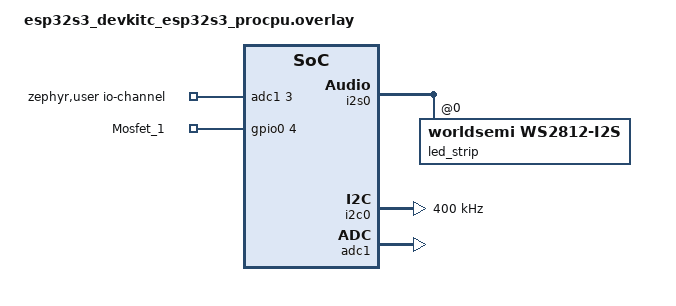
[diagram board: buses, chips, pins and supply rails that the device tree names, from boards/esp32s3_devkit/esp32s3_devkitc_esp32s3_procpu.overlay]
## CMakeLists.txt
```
cmake_minimum_required(VERSION 3.20.0)
set (CMAKE_CXX_STANDARD 20)

find_package(Zephyr REQUIRED HINTS $ENV{ZEPHYR_BASE})

project(esp-zephyr)

# add_subdirectory(src)

set(APP_SOURCES
    src/main.cpp
    src/wifi_scanner.cpp
    src/display.cpp
    src/soil_sensor.cpp
    src/led_status.cpp
)

target_sources(app PRIVATE ${APP_SOURCES})
```

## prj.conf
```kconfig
CONFIG_THREAD_NAME=y
CONFIG_DEBUG_THREAD_INFO=n

CONFIG_NO_OPTIMIZATIONS=n
CONFIG_DEBUG_OPTIMIZATIONS=y

CONFIG_STD_CPP20=y
CONFIG_NEWLIB_LIBC=y

# Console
CONFIG_SERIAL=y
CONFIG_CONSOLE=y
CONFIG_UART_CONSOLE=y
CONFIG_UART_INTERRUPT_DRIVEN=y
CONFIG_PRINTK=y

# Networking
CONFIG_NETWORKING=y
CONFIG_NET_L2_ETHERNET=y
CONFIG_NET_L2_WIFI_MGMT=y
CONFIG_NET_MGMT=y
CONFIG_NET_MGMT_EVENT=y
CONFIG_NET_MGMT_EVENT_INFO=y

# Wi-Fi
CONFIG_WIFI=y
CONFIG_WIFI_ESP32=y

# Memory and stacks
CONFIG_HEAP_MEM_POOL_SIZE=98304
CONFIG_MAIN_STACK_SIZE=4096
CONFIG_SYSTEM_WORKQUEUE_STACK_SIZE=4096

CONFIG_NET_TX_STACK_SIZE=2048
CONFIG_NET_RX_STACK_SIZE=4096

CONFIG_NET_PKT_RX_COUNT=16
CONFIG_NET_PKT_TX_COUNT=16
CONFIG_NET_BUF_RX_COUNT=32
CONFIG_NET_BUF_TX_COUNT=32

# Logging
CONFIG_LOG=y
CONFIG_LOG_BACKEND_UART=y
CONFIG_LOG_MODE_DEFERRED=y
CONFIG_LOG_BACKEND_SHOW_LEVEL=y
CONFIG_LOG_BACKEND_SHOW_TIMESTAMP=y

#Display
CONFIG_I2C=y
# CONFIG_DISPLAY=y
# CONFIG_SSD1306=y
# CONFIG_SSD1306_DEFAULT=y
# CONFIG_SSD1306_DEFAULT_CONTRAST=128

CONFIG_STATIC_INIT_GNU=y

#Downloader
CONFIG_BOOTLOADER_MCUBOOT=y
CONFIG_MCUBOOT_SIGNATURE_KEY_FILE="${APP_DIR}/keys/firmware-signing-key.pem"

#AnDC
CONFIG_ADC=y

#Led
CONFIG_LED_STRIP=y
CONFIG_I2S=y
CONFIG_WS2812_STRIP_I2S=y
```

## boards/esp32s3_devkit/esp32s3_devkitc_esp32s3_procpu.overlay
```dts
// / {
//     chosen {
//         zephyr,display = &ssd1306;
//     };
// };

// & i2c0 {
//     status = "okay";

//     ssd1306: ssd1306@3c {
//         compatible = "solomon,ssd1306fb";
//         reg = <0x3c>;

//         width = <128>;
//         height = <32>;

//         segment-offset = <0>;
//         page-offset = <0>;
//         display-offset = <0>;
//         multiplex-ratio = <31>;

//         segment-remap;
//         com-invdir;
//         prechargep = <0x22>;
//     };
// };
#include <zephyr/dt-bindings/led/led.h>

/ {
    zephyr,user {
        io-channels = <&adc1 3>;
    };
    aliases{
        led-strip = &led_strip;
        mosfet1 = &mosfet1;
    };

    gpio_keys {
        compatible = "gpio-keys";

        mosfet1: mosfet_1{
            label = "Mosfet_1";
            gpios = <&gpio0 4 GPIO_ACTIVE_HIGH>;
        };
    };
};

&i2s0_default {
    group1 {
        pinmux = <I2S0_O_SD_GPIO48>;
    };
};

&i2s0 {
    status = "okay";

    dmas = <&dma 3>;
    dma-names = "tx";

    led_strip: ws2812@0 {
        compatible = "worldsemi,ws2812-i2s";
        reg = <0>;
        chain-length = <1>;

        color-mapping = <
            LED_COLOR_ID_GREEN
            LED_COLOR_ID_RED
            LED_COLOR_ID_BLUE
        >;

        reset-delay = <500>;
    };
};

&i2c0 {
    status = "okay";
    clock-frequency = <400000>;
};

&adc1{
    status = "okay";
};

&dma {
    status = "okay";
};
```

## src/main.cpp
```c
#include "wifi_scanner.h"
#include "display.h"
#include "soil_sensor.h"
#include "led_status.h"
#include <zephyr/drivers/i2c.h>
#include <zephyr/sys/printk.h>
#include <zephyr/drivers/uart.h>
#include <zephyr/drivers/gpio.h>

#define WIFI_STACK_SIZE 4096
#define OLED_STACK_SIZE 2048

#define WIFI_PRIORITY 5
#define OLED_PRIORITY 5

LOG_MODULE_REGISTER(main, LOG_LEVEL_INF);

K_THREAD_STACK_DEFINE(wifi_stack, WIFI_STACK_SIZE);
K_THREAD_STACK_DEFINE(oled_stack, OLED_STACK_SIZE);
K_THREAD_STACK_DEFINE(soil_stack, OLED_STACK_SIZE);

static struct k_thread wifi_thread_data;
static struct k_thread oled_thread_data;
static struct k_thread soil_thread_data;

static const struct device *i2c = DEVICE_DT_GET(DT_NODELABEL(i2c0));
static const struct device *uart = DEVICE_DT_GET(DT_NODELABEL(uart0));
static const struct gpio_dt_spec mosfet1 = GPIO_DT_SPEC_GET(DT_ALIAS(mosfet1), gpios);

static SSD1306 oled(i2c, OLED_I2C_ADDR);
static WifiScanner scanner;
static SoilMoistureSensor sensor;
static RgbLed ledStatus;

uint8_t byte;
static uint8_t cmd[2];
static uint8_t cmd_idx = 0;

void process_command(uint8_t cmd1, uint8_t cmd2)
{
    if (cmd1 == 0x01 && cmd2 == 0x02)
    {
        LOG_INF("CMD SSSS");
        gpio_pin_toggle_dt(&mosfet1);
    }
    else if (cmd1 == 0x03 && cmd2 == 0x04)
    {
        LOG_INF("CMD DDDD");
    }
}

static void wifi_thread_entry(void *p1, void *p2, void *p3)
{
    auto *scanner = static_cast<WifiScanner *>(p1);

    LOG_INF("Wi-Fi thread started");

    int ret = scanner->start();
    LOG_INF("Wi-Fi scanner stopped: %d", ret);
}

static void oled_thread_entry(void *p1, void *p2, void *p3)
{
    auto *display = static_cast<SSD1306 *>(p1);
    auto *scanner = static_cast<WifiScanner *>(p2);
    auto *sensor = static_cast<SoilMoistureSensor *>(p3);
    char text[32];
    LOG_INF("OLED thread started\n");

    display->clear();
    display->drawString(0, 0, "ESP32-S3", true);
    display->drawString(0, 10, "Wi-Fi scanner", true);
    display->update();

    while (true)
    {
        int count = scanner->getNetworkCount();
        int soil_percent;
        sensor->readHumidityPercent(soil_percent);

        display->clear();
        display->drawString(0, 0, "Wi-Fi scan result:", true);

        snprintk(text, sizeof(text), "Found %d networks", count);
        display->drawString(0, 12, text, true);

        snprintk(text, sizeof(text), "Value of humidity %d", soil_percent);
        display->drawString(0, 24, text, true);

        display->update();

        k_sleep(K_SECONDS(1));
    }
}

static void soil_thread_entry(void *p1, void *p2, void *p3)
{
    auto *sensor = static_cast<SoilMoistureSensor *>(p1);

    while (true) {
        int16_t raw = 0;
        const int raw_ret = sensor->readRaw(raw);

        if (raw_ret < 0) 
        {
            LOG_INF("ERROR: ADC read failed: %d", raw_ret);
            k_sleep(K_SECONDS(2));
            continue;
        }

        int humidity = 0;
        const int humidity_ret = sensor->readHumidityPercent(humidity);

        if (humidity_ret < 0) {
            LOG_INF("ERROR: Humidity calculation failed: %d", humidity_ret);
            k_sleep(K_SECONDS(2));
            continue;
        }

        ledStatus.updateMoisture(humidity_ret);
        LOG_INF("ADC raw: %d | Soil moisture: %d%%", raw, humidity);

        while (uart_poll_in(uart, &byte) == 0)
        {
            cmd[cmd_idx++] = byte;

            if (cmd_idx == 2)
            {
                process_command(cmd[0], cmd[1]);

                cmd_idx = 0;
            }
        }

        k_sleep(K_SECONDS(1));
    }
}

int main()
{
    LOG_INF("Application startings\n");

    if (!device_is_ready(i2c))
    {
        LOG_ERR("ERROR: I2C device is not ready\n");
        return 0;
    }

    if (!device_is_ready(uart))
    {
        LOG_ERR("ERROR: UART device is not ready\n");
        return 0;
    }

    if (!gpio_is_ready_dt(&mosfet1)) {
        LOG_ERR("GPIO controller is not ready\n");
        return 0;
    }
    gpio_pin_configure_dt(&mosfet1, GPIO_OUTPUT_INACTIVE);

    if (!oled.init())
    {
        LOG_ERR("ERROR: OLED initialization failed\n");
        return 0;
    }

    if (!sensor.init())
    {
        LOG_ERR("ERROR: ADC initialization failed\n");
        return 0;
    }

    k_thread_create( &wifi_thread_data, wifi_stack, K_THREAD_STACK_SIZEOF(wifi_stack), 
                    wifi_thread_entry, &scanner, nullptr, nullptr, WIFI_PRIORITY, 0, K_NO_WAIT);

    k_thread_create(&oled_thread_data, oled_stack, K_THREAD_STACK_SIZEOF(oled_stack),
                    oled_thread_entry, &oled, &scanner, &sensor, OLED_PRIORITY, 0, K_NO_WAIT);

    k_thread_create(&soil_thread_data, soil_stack, K_THREAD_STACK_SIZEOF(oled_stack),
                    soil_thread_entry, &sensor, nullptr, nullptr, OLED_PRIORITY, 0, K_NO_WAIT);

    LOG_INF("All threads created\n");
    
    while (true)
    {
        k_sleep(K_SECONDS(1));
    }
    
    return 0;
}
```

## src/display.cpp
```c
#include "display.h"

SSD1306::SSD1306(const struct device *i2c, uint8_t addr)
                                :  i2c_(i2c), addr_(addr) 
{
    memset(buffer, 0, sizeof(buffer));
}

int SSD1306::writeCmd(uint8_t cmd)
{
    uint8_t buf[2] = {0x00, cmd};  // 0x00 – управляющий байт: команда
    return i2c_write(i2c_, buf, sizeof(buf), addr_);
}

int SSD1306::writeData(const uint8_t *data, size_t len) 
{
    uint8_t buf[33];
    buf[0] = 0x40;  // Control byte: данные

    while (len > 0) {
        const size_t chunk_ = (len > 32) ? 32 : len;
        memcpy(&buf[1], data, chunk_);
        const int ret = i2c_write(i2c_, buf, chunk_ + 1, addr_);
        if (ret < 0)
            return ret;

        data += chunk_;
        len -= chunk_;
    }

    return 0;
}

bool SSD1306::init()
{
    if (i2c_ == nullptr || !device_is_ready(i2c_)) 
    {
        return false;
    }
    k_msleep(100);

    auto cmd = [this](uint8_t value) /* Что это? */
    {
        return writeCmd(value) == 0;
    };

    if (!cmd(SSD1306_SET_DISP_OFF))           return false;

    if (!cmd(SSD1306_SET_DISP_CLK_DIV))       return false;
    if (!cmd(0x80))                           return false;

    if (!cmd(SSD1306_SET_MUX_RATIO))          return false;
    if (!cmd(OLED_HEIGHT - 1))                return false;

    if (!cmd(SSD1306_SET_DISP_OFFSET))        return false;
    if (!cmd(0x00))                           return false;

    if (!cmd(SSD1306_SET_DISP_START_LINE))    return false;

    if (!cmd(SSD1306_SET_CHARGE_PUMP))        return false;
    if (!cmd(0x14))                           return false;

    if (!cmd(SSD1306_SET_MEM_MODE))           return false;
    if (!cmd(0x00))                           return false;

    if (!cmd(SSD1306_SET_SEG_REMAP | 0x01))   return false;
    if (!cmd(SSD1306_SET_COM_OUT_DIR | 0x08)) return false;

    if (!cmd(SSD1306_SET_COM_PIN_CFG))        return false;
    if (!cmd(0x02))                           return false;

    if (!cmd(SSD1306_SET_CONTRAST))           return false;
    if (!cmd(0x7F))                           return false;

    if (!cmd(SSD1306_SET_ENTIRE_ON))          return false;
    if (!cmd(SSD1306_SET_NORM_DISP))          return false;

    clear();

    if (!update()) 
    {
        return false;
    }

    if (!cmd(SSD1306_SET_DISP_ON)) 
    {
        return false;
    }

    return true;
}

void SSD1306::clear()
{
    memset(buffer, 0, sizeof(buffer));
}

bool SSD1306::update()
{
    if (writeCmd(SSD1306_SET_COL_ADDR) < 0) 
    {
        return false;
    }

    if (writeCmd(0) < 0) 
    {
        return false;
    }

    if (writeCmd(OLED_WIDTH - 1) < 0) 
    {
        return false;
    }

    if (writeCmd(SSD1306_SET_PAGE_ADDR) < 0) 
    {
        return false;
    }

    if (writeCmd(0) < 0) 
    {
        return false;
    }

    if (writeCmd((OLED_HEIGHT / 8) - 1) < 0) 
    {
        return false;
    }

    return writeData(buffer, sizeof(buffer)) == 0;
}

// ----- Draw pixel -----
void SSD1306::drawPixel(int16_t x, int16_t y, bool color)
{
    if (x < 0 || x >= OLED_WIDTH || y < 0 || y >= OLED_HEIGHT) return;
    uint16_t idx = x + (y / 8) * OLED_WIDTH;
    uint8_t bit = 1 << (y % 8);
    if (color) 
    {
        buffer[idx] |= bit;
    }
    else{       
        buffer[idx] &= ~bit;
    }
}

// ----- Шрифт 5x7 (символы ASCII 32..127) -----
// Каждый символ – 5 байт (по 5 столбцов), биты строки 0..6 (7 строк)
static const uint8_t font5x7[][5] = 
{
    {0x00, 0x00, 0x00, 0x00, 0x00}, // 32 space
    {0x00, 0x00, 0x5F, 0x00, 0x00}, // 33 !
    {0x00, 0x07, 0x00, 0x07, 0x00}, // 34 "
    {0x14, 0x7F, 0x14, 0x7F, 0x14}, // 35 #
    {0x24, 0x2A, 0x7F, 0x2A, 0x12}, // 36 $
    {0x23, 0x13, 0x08, 0x64, 0x62}, // 37 %
    {0x36, 0x49, 0x55, 0x22, 0x50}, // 38 &
    {0x00, 0x05, 0x03, 0x00, 0x00}, // 39 '
    {0x00, 0x1C, 0x22, 0x41, 0x00}, // 40 (
    {0x00, 0x41, 0x22, 0x1C, 0x00}, // 41 )
    {0x08, 0x2A, 0x1C, 0x2A, 0x08}, // 42 *
    {0x08, 0x08, 0x3E, 0x08, 0x08}, // 43 +
    {0x00, 0x50, 0x30, 0x00, 0x00}, // 44 ,
    {0x08, 0x08, 0x08, 0x08, 0x08}, // 45 -
    {0x00, 0x60, 0x60, 0x00, 0x00}, // 46 .
    {0x20, 0x10, 0x08, 0x04, 0x02}, // 47 /
    {0x3E, 0x51, 0x49, 0x45, 0x3E}, // 48 0
    {0x00, 0x42, 0x7F, 0x40, 0x00}, // 49 1
    {0x42, 0x61, 0x51, 0x49, 0x46}, // 50 2
    {0x21, 0x41, 0x45, 0x4B, 0x31}, // 51 3
    {0x18, 0x14, 0x12, 0x7F, 0x10}, // 52 4
    {0x27, 0x45, 0x45, 0x45, 0x39}, // 53 5
    {0x3C, 0x4A, 0x49, 0x49, 0x30}, // 54 6
    {0x01, 0x71, 0x09, 0x05, 0x03}, // 55 7
    {0x36, 0x49, 0x49, 0x49, 0x36}, // 56 8
    {0x06, 0x49, 0x49, 0x29, 0x1E}, // 57 9
    {0x00, 0x36, 0x36, 0x00, 0x00}, // 58 :
    {0x00, 0x56, 0x36, 0x00, 0x00}, // 59 ;
    {0x08, 0x14, 0x22, 0x41, 0x00}, // 60 <
    {0x14, 0x14, 0x14, 0x14, 0x14}, // 61 =
    {0x00, 0x41, 0x22, 0x14, 0x08}, // 62 >
    {0x02, 0x01, 0x51, 0x09, 0x06}, // 63 ?
    {0x32, 0x49, 0x79, 0x41, 0x3E}, // 64 @
    {0x7E, 0x11, 0x11, 0x11, 0x7E}, // 65 A
    {0x7F, 0x49, 0x49, 0x49, 0x36}, // 66 B
    {0x3E, 0x41, 0x41, 0x41, 0x22}, // 67 C
    {0x7F, 0x41, 0x41, 0x22, 0x1C}, // 68 D
    {0x7F, 0x49, 0x49, 0x49, 0x41}, // 69 E
    {0x7F, 0x09, 0x09, 0x09, 0x01}, // 70 F
    {0x3E, 0x41, 0x49, 0x49, 0x7A}, // 71 G
    {0x7F, 0x08, 0x08, 0x08, 0x7F}, // 72 H
    {0x00, 0x41, 0x7F, 0x41, 0x00}, // 73 I
    {0x20, 0x40, 0x41, 0x3F, 0x01}, // 74 J
    {0x7F, 0x08, 0x14, 0x22, 0x41}, // 75 K
    {0x7F, 0x40, 0x40, 0x40, 0x40}, // 76 L
    {0x7F, 0x02, 0x04, 0x02, 0x7F}, // 77 M
    {0x7F, 0x04, 0x08, 0x10, 0x7F}, // 78 N
    {0x3E, 0x41, 0x41, 0x41, 0x3E}, // 79 O
    {0x7F, 0x09, 0x09, 0x09, 0x06}, // 80 P
    {0x3E, 0x41, 0x51, 0x21, 0x5E}, // 81 Q
    {0x7F, 0x09, 0x19, 0x29, 0x46}, // 82 R
    {0x46, 0x49, 0x49, 0x49, 0x31}, // 83 S
    {0x01, 0x01, 0x7F, 0x01, 0x01}, // 84 T
    {0x3F, 0x40, 0x40, 0x40, 0x3F}, // 85 U
    {0x1F, 0x20, 0x40, 0x20, 0x1F}, // 86 V
    {0x7F, 0x20, 0x18, 0x20, 0x7F}, // 87 W
    {0x63, 0x14, 0x08, 0x14, 0x63}, // 88 X
    {0x07, 0x08, 0x70, 0x08, 0x07}, // 89 Y
    {0x61, 0x51, 0x49, 0x45, 0x43}, // 90 Z
    {0x00, 0x7F, 0x41, 0x41, 0x00}, // 91 [
    {0x02, 0x04, 0x08, 0x10, 0x20}, // 92 backslash
    {0x00, 0x41, 0x41, 0x7F, 0x00}, // 93 ]
    {0x04, 0x02, 0x01, 0x02, 0x04}, // 94 ^
    {0x40, 0x40, 0x40, 0x40, 0x40}, // 95 _
    {0x00, 0x01, 0x02, 0x04, 0x00}, // 96 `
    {0x20, 0x54, 0x54, 0x54, 0x78}, // 97 a
    {0x7F, 0x48, 0x44, 0x44, 0x38}, // 98 b
    {0x38, 0x44, 0x44, 0x44, 0x20}, // 99 c
    {0x38, 0x44, 0x44, 0x48, 0x7F}, // 100 d
    {0x38, 0x54, 0x54, 0x54, 0x18}, // 101 e
    {0x08, 0x7E, 0x09, 0x01, 0x02}, // 102 f
    {0x0C, 0x52, 0x52, 0x52, 0x3E}, // 103 g
    {0x7F, 0x08, 0x04, 0x04, 0x78}, // 104 h
    {0x00, 0x44, 0x7D, 0x40, 0x00}, // 105 i
    {0x20, 0x40, 0x44, 0x3D, 0x00}, // 106 j
    {0x7F, 0x10, 0x28, 0x44, 0x00}, // 107 k
    {0x00, 0x41, 0x7F, 0x40, 0x00}, // 108 l
    {0x7C, 0x04, 0x18, 0x04, 0x78}, // 109 m
    {0x7C, 0x08, 0x04, 0x04, 0x78}, // 110 n
    {0x38, 0x44, 0x44, 0x44, 0x38}, // 111 o
    {0x7C, 0x14, 0x14, 0x14, 0x08}, // 112 p
    {0x08, 0x14, 0x14, 0x18, 0x7C}, // 113 q
    {0x7C, 0x08, 0x04, 0x04, 0x08}, // 114 r
    {0x48, 0x54, 0x54, 0x54, 0x20}, // 115 s
    {0x04, 0x3F, 0x44, 0x40, 0x20}, // 116 t
    {0x3C, 0x40, 0x40, 0x20, 0x7C}, // 117 u
    {0x1C, 0x20, 0x40, 0x20, 0x1C}, // 118 v
    {0x3C, 0x40, 0x30, 0x40, 0x3C}, // 119 w
    {0x44, 0x28, 0x10, 0x28, 0x44}, // 120 x
    {0x0C, 0x50, 0x50, 0x50, 0x3C}, // 121 y
    {0x44, 0x64, 0x54, 0x4C, 0x44}, // 122 z
    {0x00, 0x08, 0x36, 0x41, 0x00}, // 123 {
    {0x00, 0x00, 0x7F, 0x00, 0x00}, // 124 |
    {0x00, 0x41, 0x36, 0x08, 0x00}, // 125 }
    {0x08, 0x08, 0x2A, 0x1C, 0x08}, // 126 ~
    {0x00, 0x00, 0x00, 0x00, 0x00}  // 127 DEL (пусто)
};

void SSD1306::drawChar(int16_t x, int16_t y, char c, bool color) 
{
    if (c < 32 || c > 127) c = 32;
    uint8_t idx = c - 32;
    for (int col = 0; col < 5; col++) 
    {
        uint8_t line = font5x7[idx][col];
        for (int row = 0; row < 7; row++) 
        {
            if (line & (1 << row)) 
            {
                drawPixel(x + col, y + row, color);
            }
        }
    }
}

void SSD1306::drawString(int16_t x, int16_t y, const char *str, bool color) 
{
    while (*str) 
    {
        drawChar(x, y, *str++, color);
        x += 6; // 5 пикселей ширина + 1 пробел
        if (x + 5 >= OLED_WIDTH) // перенос строки
        { 
            x = 0;
            y += 8;
        }
    }
}
```

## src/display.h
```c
#include "libs_app.h"
#include <zephyr/drivers/display.h>
#include <zephyr/drivers/i2c.h>

#define OLED_WIDTH          128
#define OLED_HEIGHT         32
#define OLED_BUFFER_SIZE    (OLED_WIDTH * OLED_HEIGHT / 8) // 512 byts
#define OLED_I2C_ADDR       0x3C

// ----- Команды SSD1306 (из даташита) -----
#define SSD1306_SET_MEM_MODE        0x20
#define SSD1306_SET_COL_ADDR        0x21
#define SSD1306_SET_PAGE_ADDR       0x22
#define SSD1306_SET_DISP_START_LINE 0x40
#define SSD1306_SET_CONTRAST        0x81
#define SSD1306_SET_CHARGE_PUMP     0x8D
#define SSD1306_SET_SEG_REMAP       0xA0
#define SSD1306_SET_ENTIRE_ON       0xA4
#define SSD1306_SET_NORM_DISP       0xA6
#define SSD1306_SET_MUX_RATIO       0xA8
#define SSD1306_SET_DISP_OFF        0xAE
#define SSD1306_SET_DISP_ON         0xAF
#define SSD1306_SET_COM_OUT_DIR     0xC0
#define SSD1306_SET_DISP_OFFSET     0xD3
#define SSD1306_SET_DISP_CLK_DIV    0xD5
#define SSD1306_SET_PRECHARGE       0xD9
#define SSD1306_SET_COM_PIN_CFG     0xDA
#define SSD1306_SET_VCOM_DET        0xDB

class SSD1306 
{
public:
    explicit SSD1306(const struct device *i2c, uint8_t addr = OLED_I2C_ADDR);

    bool init();
    void clear();
    bool update();

    void drawPixel(int16_t x, int16_t y, bool color);
    void drawChar(int16_t x, int16_t y, char c, bool color);
    void drawString(int16_t x, int16_t y, const char *str, bool color);

private:
    const struct device *i2c_;
    uint8_t addr_;
    uint8_t buffer[OLED_BUFFER_SIZE];

    int writeCmd(uint8_t cmd);
    int writeData(const uint8_t *data, size_t len);
};
```

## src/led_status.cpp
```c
#include "led_status.h"

#define LED_STRIP_NODE DT_ALIAS(led_strip)

LOG_MODULE_REGISTER(led_status, LOG_LEVEL_INF);

static const struct device *led_strip = DEVICE_DT_GET(LED_STRIP_NODE);

constexpr int MOISTURE_MIN = 30;
constexpr int MOISTURE_MAX = 70;

int RgbLed::init()
{
    LOG_INF("RGB LED device name: %s\n", led_strip->name);

    if (!device_is_ready(led_strip))
    {
        LOG_ERR("RGB LED device is NOT ready\n");
        return -ENODEV;
    }

    LOG_INF("RGB LED device is ready\n");

    return turnOff();

}

int RgbLed::setColor(uint8_t red, uint8_t green, uint8_t blue)
{
    struct led_rgb color = {
        .r = red,
        .g = green,
        .b = blue
    };

    int ret = led_strip_update_rgb(led_strip, &color, 1);

    if (ret < 0)
    {
        LOG_ERR("Failed to update RGB LED: %d", ret);
    }

    return ret;
}

int RgbLed::setRed()
{
    return setColor(255, 0, 0);
}

int RgbLed::setGreen()
{
    return setColor(0, 255, 0);
}

int RgbLed::setBlue()
{
    return setColor(0, 0, 255);
}

int RgbLed::turnOff()
{
    return setColor(0, 0, 0);
}

int RgbLed::updateMoisture(int soil_percent)
{
    if (soil_percent <= MOISTURE_MIN)
    {
        return setRed();
    }

    if (soil_percent >= MOISTURE_MAX)
    {
        return setBlue();
    }

    return setGreen();
}
```

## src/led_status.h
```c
#pragma once

#include "libs_app.h"
#include <zephyr/drivers/led_strip.h>

class RgbLed
{
public:
    int init();

    int setRed();
    int setGreen();
    int setBlue();
    int turnOff();

    int updateMoisture(int soil_percent);

private:
    int setColor(uint8_t red, uint8_t green, uint8_t blue);
};
```

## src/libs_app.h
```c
#pragma once

#include <zephyr/kernel.h>
#include <zephyr/logging/log.h>
#include <zephyr/device.h>
#include <zephyr/devicetree.h>

#include <cstdint>
#include <cstring>
```

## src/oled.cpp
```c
#include "oled.h"
#include <cstring>

SSD1306::SSD1306(const struct device *i2c, uint8_t addr)
                                :  i2c_(i2c), addr_(addr) 
{
    memset(buffer, 0, sizeof(buffer));
}

int SSD1306::writeCmd(uint8_t cmd)
{
    uint8_t buf[2] = {0x00, cmd};  // 0x00 – управляющий байт: команда
    return i2c_write(i2c_, buf, sizeof(buf), addr_);
}

int SSD1306::writeData(const uint8_t *data, size_t len) 
{
    uint8_t buf[33];
    buf[0] = 0x40;  // Control byte: данные

    while (len > 0) {
        const size_t chunk_ = (len > 32) ? 32 : len;
        memcpy(&buf[1], data, chunk_);
        const int ret = i2c_write(i2c_, buf, chunk_ + 1, addr_);
        if (ret < 0)
            return ret;

        data += chunk_;
        len -= chunk_;
    }

    return 0;
}

bool SSD1306::init()
{
    if (i2c_ == nullptr || !device_is_ready(i2c_)) 
    {
        return false;
    }
    k_msleep(100);

    auto cmd = [this](uint8_t value) /* Что это? */
    {
        return writeCmd(value) == 0;
    };

    if (!cmd(SSD1306_SET_DISP_OFF))           return false;

    if (!cmd(SSD1306_SET_DISP_CLK_DIV))       return false;
    if (!cmd(0x80))                           return false;

    if (!cmd(SSD1306_SET_MUX_RATIO))          return false;
    if (!cmd(OLED_HEIGHT - 1))                return false;

    if (!cmd(SSD1306_SET_DISP_OFFSET))        return false;
    if (!cmd(0x00))                           return false;

    if (!cmd(SSD1306_SET_DISP_START_LINE))    return false;

    if (!cmd(SSD1306_SET_CHARGE_PUMP))        return false;
    if (!cmd(0x14))                           return false;

    if (!cmd(SSD1306_SET_MEM_MODE))           return false;
    if (!cmd(0x00))                           return false;

    if (!cmd(SSD1306_SET_SEG_REMAP | 0x01))   return false;
    if (!cmd(SSD1306_SET_COM_OUT_DIR | 0x08)) return false;

    if (!cmd(SSD1306_SET_COM_PIN_CFG))        return false;
    if (!cmd(0x02))                           return false;

    if (!cmd(SSD1306_SET_CONTRAST))           return false;
    if (!cmd(0x7F))                           return false;

    if (!cmd(SSD1306_SET_ENTIRE_ON))          return false;
    if (!cmd(SSD1306_SET_NORM_DISP))          return false;

    clear();

    if (!update()) 
    {
        return false;
    }

    if (!cmd(SSD1306_SET_DISP_ON)) 
    {
        return false;
    }

    return true;
}

void SSD1306::clear()
{
    memset(buffer, 0, sizeof(buffer));
}

bool SSD1306::update()
{
    if (writeCmd(SSD1306_SET_COL_ADDR) < 0) 
    {
        return false;
    }

    if (writeCmd(0) < 0) 
    {
        return false;
    }

    if (writeCmd(OLED_WIDTH - 1) < 0) 
    {
        return false;
    }

    if (writeCmd(SSD1306_SET_PAGE_ADDR) < 0) 
    {
        return false;
    }

    if (writeCmd(0) < 0) 
    {
        return false;
    }

    if (writeCmd((OLED_HEIGHT / 8) - 1) < 0) 
    {
        return false;
    }

    return writeData(buffer, sizeof(buffer)) == 0;
}

// ----- Draw pixel -----
void SSD1306::drawPixel(int16_t x, int16_t y, bool color)
{
    if (x < 0 || x >= OLED_WIDTH || y < 0 || y >= OLED_HEIGHT) return;
    uint16_t idx = x + (y / 8) * OLED_WIDTH;
    uint8_t bit = 1 << (y % 8);
    if (color) 
    {
        buffer[idx] |= bit;
    }
    else{       
        buffer[idx] &= ~bit;
    }
}

// ----- Шрифт 5x7 (символы ASCII 32..127) -----
// Каждый символ – 5 байт (по 5 столбцов), биты строки 0..6 (7 строк)
static const uint8_t font5x7[][5] = 
{
    {0x00, 0x00, 0x00, 0x00, 0x00}, // 32 space
    {0x00, 0x00, 0x5F, 0x00, 0x00}, // 33 !
    {0x00, 0x07, 0x00, 0x07, 0x00}, // 34 "
    {0x14, 0x7F, 0x14, 0x7F, 0x14}, // 35 #
    {0x24, 0x2A, 0x7F, 0x2A, 0x12}, // 36 $
    {0x23, 0x13, 0x08, 0x64, 0x62}, // 37 %
    {0x36, 0x49, 0x55, 0x22, 0x50}, // 38 &
    {0x00, 0x05, 0x03, 0x00, 0x00}, // 39 '
    {0x00, 0x1C, 0x22, 0x41, 0x00}, // 40 (
    {0x00, 0x41, 0x22, 0x1C, 0x00}, // 41 )
    {0x08, 0x2A, 0x1C, 0x2A, 0x08}, // 42 *
    {0x08, 0x08, 0x3E, 0x08, 0x08}, // 43 +
    {0x00, 0x50, 0x30, 0x00, 0x00}, // 44 ,
    {0x08, 0x08, 0x08, 0x08, 0x08}, // 45 -
    {0x00, 0x60, 0x60, 0x00, 0x00}, // 46 .
    {0x20, 0x10, 0x08, 0x04, 0x02}, // 47 /
    {0x3E, 0x51, 0x49, 0x45, 0x3E}, // 48 0
    {0x00, 0x42, 0x7F, 0x40, 0x00}, // 49 1
    {0x42, 0x61, 0x51, 0x49, 0x46}, // 50 2
    {0x21, 0x41, 0x45, 0x4B, 0x31}, // 51 3
    {0x18, 0x14, 0x12, 0x7F, 0x10}, // 52 4
    {0x27, 0x45, 0x45, 0x45, 0x39}, // 53 5
    {0x3C, 0x4A, 0x49, 0x49, 0x30}, // 54 6
    {0x01, 0x71, 0x09, 0x05, 0x03}, // 55 7
    {0x36, 0x49, 0x49, 0x49, 0x36}, // 56 8
    {0x06, 0x49, 0x49, 0x29, 0x1E}, // 57 9
    {0x00, 0x36, 0x36, 0x00, 0x00}, // 58 :
    {0x00, 0x56, 0x36, 0x00, 0x00}, // 59 ;
    {0x08, 0x14, 0x22, 0x41, 0x00}, // 60 <
    {0x14, 0x14, 0x14, 0x14, 0x14}, // 61 =
    {0x00, 0x41, 0x22, 0x14, 0x08}, // 62 >
    {0x02, 0x01, 0x51, 0x09, 0x06}, // 63 ?
    {0x32, 0x49, 0x79, 0x41, 0x3E}, // 64 @
    {0x7E, 0x11, 0x11, 0x11, 0x7E}, // 65 A
    {0x7F, 0x49, 0x49, 0x49, 0x36}, // 66 B
    {0x3E, 0x41, 0x41, 0x41, 0x22}, // 67 C
    {0x7F, 0x41, 0x41, 0x22, 0x1C}, // 68 D
    {0x7F, 0x49, 0x49, 0x49, 0x41}, // 69 E
    {0x7F, 0x09, 0x09, 0x09, 0x01}, // 70 F
    {0x3E, 0x41, 0x49, 0x49, 0x7A}, // 71 G
    {0x7F, 0x08, 0x08, 0x08, 0x7F}, // 72 H
    {0x00, 0x41, 0x7F, 0x41, 0x00}, // 73 I
    {0x20, 0x40, 0x41, 0x3F, 0x01}, // 74 J
    {0x7F, 0x08, 0x14, 0x22, 0x41}, // 75 K
    {0x7F, 0x40, 0x40, 0x40, 0x40}, // 76 L
    {0x7F, 0x02, 0x04, 0x02, 0x7F}, // 77 M
    {0x7F, 0x04, 0x08, 0x10, 0x7F}, // 78 N
    {0x3E, 0x41, 0x41, 0x41, 0x3E}, // 79 O
    {0x7F, 0x09, 0x09, 0x09, 0x06}, // 80 P
    {0x3E, 0x41, 0x51, 0x21, 0x5E}, // 81 Q
    {0x7F, 0x09, 0x19, 0x29, 0x46}, // 82 R
    {0x46, 0x49, 0x49, 0x49, 0x31}, // 83 S
    {0x01, 0x01, 0x7F, 0x01, 0x01}, // 84 T
    {0x3F, 0x40, 0x40, 0x40, 0x3F}, // 85 U
    {0x1F, 0x20, 0x40, 0x20, 0x1F}, // 86 V
    {0x7F, 0x20, 0x18, 0x20, 0x7F}, // 87 W
    {0x63, 0x14, 0x08, 0x14, 0x63}, // 88 X
    {0x07, 0x08, 0x70, 0x08, 0x07}, // 89 Y
    {0x61, 0x51, 0x49, 0x45, 0x43}, // 90 Z
    {0x00, 0x7F, 0x41, 0x41, 0x00}, // 91 [
    {0x02, 0x04, 0x08, 0x10, 0x20}, // 92 backslash
    {0x00, 0x41, 0x41, 0x7F, 0x00}, // 93 ]
    {0x04, 0x02, 0x01, 0x02, 0x04}, // 94 ^
    {0x40, 0x40, 0x40, 0x40, 0x40}, // 95 _
    {0x00, 0x01, 0x02, 0x04, 0x00}, // 96 `
    {0x20, 0x54, 0x54, 0x54, 0x78}, // 97 a
    {0x7F, 0x48, 0x44, 0x44, 0x38}, // 98 b
    {0x38, 0x44, 0x44, 0x44, 0x20}, // 99 c
    {0x38, 0x44, 0x44, 0x48, 0x7F}, // 100 d
    {0x38, 0x54, 0x54, 0x54, 0x18}, // 101 e
    {0x08, 0x7E, 0x09, 0x01, 0x02}, // 102 f
    {0x0C, 0x52, 0x52, 0x52, 0x3E}, // 103 g
    {0x7F, 0x08, 0x04, 0x04, 0x78}, // 104 h
    {0x00, 0x44, 0x7D, 0x40, 0x00}, // 105 i
    {0x20, 0x40, 0x44, 0x3D, 0x00}, // 106 j
    {0x7F, 0x10, 0x28, 0x44, 0x00}, // 107 k
    {0x00, 0x41, 0x7F, 0x40, 0x00}, // 108 l
    {0x7C, 0x04, 0x18, 0x04, 0x78}, // 109 m
    {0x7C, 0x08, 0x04, 0x04, 0x78}, // 110 n
    {0x38, 0x44, 0x44, 0x44, 0x38}, // 111 o
    {0x7C, 0x14, 0x14, 0x14, 0x08}, // 112 p
    {0x08, 0x14, 0x14, 0x18, 0x7C}, // 113 q
    {0x7C, 0x08, 0x04, 0x04, 0x08}, // 114 r
    {0x48, 0x54, 0x54, 0x54, 0x20}, // 115 s
    {0x04, 0x3F, 0x44, 0x40, 0x20}, // 116 t
    {0x3C, 0x40, 0x40, 0x20, 0x7C}, // 117 u
    {0x1C, 0x20, 0x40, 0x20, 0x1C}, // 118 v
    {0x3C, 0x40, 0x30, 0x40, 0x3C}, // 119 w
    {0x44, 0x28, 0x10, 0x28, 0x44}, // 120 x
    {0x0C, 0x50, 0x50, 0x50, 0x3C}, // 121 y
    {0x44, 0x64, 0x54, 0x4C, 0x44}, // 122 z
    {0x00, 0x08, 0x36, 0x41, 0x00}, // 123 {
    {0x00, 0x00, 0x7F, 0x00, 0x00}, // 124 |
    {0x00, 0x41, 0x36, 0x08, 0x00}, // 125 }
    {0x08, 0x08, 0x2A, 0x1C, 0x08}, // 126 ~
    {0x00, 0x00, 0x00, 0x00, 0x00}  // 127 DEL (пусто)
};

void SSD1306::drawChar(int16_t x, int16_t y, char c, bool color) 
{
    if (c < 32 || c > 127) c = 32;
    uint8_t idx = c - 32;
    for (int col = 0; col < 5; col++) 
    {
        uint8_t line = font5x7[idx][col];
        for (int row = 0; row < 7; row++) 
        {
            if (line & (1 << row)) 
            {
                drawPixel(x + col, y + row, color);
            }
        }
    }
}

void SSD1306::drawString(int16_t x, int16_t y, const char *str, bool color) 
{
    while (*str) 
    {
        drawChar(x, y, *str++, color);
        x += 6; // 5 пикселей ширина + 1 пробел
        if (x + 5 >= OLED_WIDTH) // перенос строки
        { 
            x = 0;
            y += 8;
        }
    }
}
```

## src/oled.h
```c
#include <cstdint>
#include <zephyr/device.h>
#include <zephyr/drivers/display.h>
#include <zephyr/drivers/i2c.h>

#define OLED_WIDTH          128
#define OLED_HEIGHT         32
#define OLED_BUFFER_SIZE    (OLED_WIDTH * OLED_HEIGHT / 8) // 512 byts
#define OLED_I2C_ADDR       0x3C

// ----- Команды SSD1306 (из даташита) -----
#define SSD1306_SET_MEM_MODE        0x20
#define SSD1306_SET_COL_ADDR        0x21
#define SSD1306_SET_PAGE_ADDR       0x22
#define SSD1306_SET_DISP_START_LINE 0x40
#define SSD1306_SET_CONTRAST        0x81
#define SSD1306_SET_CHARGE_PUMP     0x8D
#define SSD1306_SET_SEG_REMAP       0xA0
#define SSD1306_SET_ENTIRE_ON       0xA4
#define SSD1306_SET_NORM_DISP       0xA6
#define SSD1306_SET_MUX_RATIO       0xA8
#define SSD1306_SET_DISP_OFF        0xAE
#define SSD1306_SET_DISP_ON         0xAF
#define SSD1306_SET_COM_OUT_DIR     0xC0
#define SSD1306_SET_DISP_OFFSET     0xD3
#define SSD1306_SET_DISP_CLK_DIV    0xD5
#define SSD1306_SET_PRECHARGE       0xD9
#define SSD1306_SET_COM_PIN_CFG     0xDA
#define SSD1306_SET_VCOM_DET        0xDB

class SSD1306 
{
public:
    explicit SSD1306(const struct device *i2c, uint8_t addr = OLED_I2C_ADDR);

    bool init();
    void clear();
    bool update();

    void drawPixel(int16_t x, int16_t y, bool color);
    void drawChar(int16_t x, int16_t y, char c, bool color);
    void drawString(int16_t x, int16_t y, const char *str, bool color);

private:
    const struct device *i2c_;
    uint8_t addr_;
    uint8_t buffer[OLED_BUFFER_SIZE];

    int writeCmd(uint8_t cmd);
    int writeData(const uint8_t *data, size_t len);
};
```

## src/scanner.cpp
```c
#include "scanner.h"

#include <zephyr/kernel.h>
#include <zephyr/net/net_if.h>
#include <zephyr/net/net_mgmt.h>
#include <zephyr/net/wifi_mgmt.h>
#include <zephyr/sys/printk.h>
#include <zephyr/sys/util.h>

#include <errno.h>

K_SEM_DEFINE(scan_done, 0, 1);

WifiScanner::WifiScanner()
        : network_count(0)
{
    k_mutex_init(&count_mutex);
}

void WifiScanner::wifi_event_handler(struct net_mgmt_event_callback *cb, uint64_t mgmt_event, struct net_if *iface)
{
    ARG_UNUSED(iface);

    auto *scanner = CONTAINER_OF(cb, WifiScanner, wifi_cb);

    switch (mgmt_event)
    {
    case NET_EVENT_WIFI_SCAN_RESULT:
    {
        const auto *result = static_cast<const wifi_scan_result *>(cb->info);
        if (result == nullptr)
        {
            break;
        }

        k_mutex_lock(&scanner->count_mutex, K_FOREVER);
        scanner->network_count++;
        k_mutex_unlock(&scanner->count_mutex);

        printk("SSID: %.*s | RSSI: %d dBm | Channel: %u | Security: %d\n", result->ssid_length, reinterpret_cast<const char *>(result->ssid),
               result->rssi, result->channel, static_cast<int>(result->security));

        break;
    }

    case NET_EVENT_WIFI_SCAN_DONE:
        printk("Wi-Fi scan completed\n");
        k_sem_give(&scan_done);
        break;

    default:
        break;
    }
}

int WifiScanner::start()
{
    struct net_if *iface = net_if_get_default();

    if (iface == nullptr)
    {
        printk("ERROR: No network interface found\n");
        return -ENODEV;
    }

    net_mgmt_init_event_callback(&wifi_cb, wifi_event_handler, NET_EVENT_WIFI_SCAN_RESULT | NET_EVENT_WIFI_SCAN_DONE);
    net_mgmt_add_event_callback(&wifi_cb);

    int ret = net_if_up(iface);
    if (ret != 0 && ret != -EALREADY)
    {
        printk("ERROR: net_if_up failed: %d\n", ret);
        return ret;
    }

    printk("ESP32-S3 Wi-Fi scanner started\n");

    while (true)
    {
        k_mutex_lock(&count_mutex, K_FOREVER);
        network_count = 0;
        k_mutex_unlock(&count_mutex);
        printk("\nScanning Wi-Fi networks...\n");

        ret = net_mgmt(NET_REQUEST_WIFI_SCAN, iface, nullptr, 0);
        if (ret != 0)
        {
            printk("ERROR: Wi-Fi scan request failed: %d\n", ret);
        }
        else
        {
            ret = k_sem_take(&scan_done, K_SECONDS(30));

            if (ret != 0)
            {
                printk("WARNING: Wi-Fi scan timed out\n");
            }
            else
            {
                printk("Found %d networks\n", getNetworkCount());
            }
        }

        k_sleep(K_SECONDS(10));
    }

    return 0;
}

int WifiScanner::getNetworkCount()
{
    k_mutex_lock(&count_mutex, K_FOREVER);
    int count = network_count;
    k_mutex_unlock(&count_mutex);

    return count;
}
```

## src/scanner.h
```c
#pragma once

#include <cstdint>
#include <zephyr/kernel.h>
#include <zephyr/net/net_if.h>
#include <zephyr/net/net_mgmt.h>

class WifiScanner
{
public:
    WifiScanner();

    int start();
    int getNetworkCount();

private:
    static void wifi_event_handler(struct net_mgmt_event_callback *cb, uint64_t mgmt_event, struct net_if *iface);

    int network_count;
    struct k_mutex count_mutex;
    struct net_mgmt_event_callback wifi_cb;
};
```

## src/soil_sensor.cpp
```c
#include "soil_sensor.h"

#include <zephyr/sys/util.h>

#include <cerrno>

LOG_MODULE_REGISTER(soil_sensor, LOG_LEVEL_INF);

static const struct adc_dt_spec ADC_SPEC = ADC_DT_SPEC_GET_BY_IDX(DT_PATH(zephyr_user), 0);

SoilMoistureSensor::SoilMoistureSensor(){}

int SoilMoistureSensor::init()
{
    if (!adc_is_ready_dt(&ADC_SPEC)) 
    {
        LOG_ERR("ADC device not find");
        return -ENODEV;
    }

    const int ret = adc_channel_setup_dt(&ADC_SPEC);
    if (ret < 0) 
    {
        return ret;
    }

    sequence = {};

    const int seq_ret = adc_sequence_init_dt(&ADC_SPEC, &sequence);
    if (seq_ret < 0) 
    {
        return seq_ret;
    }

    sequence.buffer = sample_buffer;
    sequence.buffer_size = sizeof(sample_buffer);
    sequence.resolution = 12;
    sequence.oversampling = 0;

    return 0;
}

int SoilMoistureSensor::readRaw(int16_t& raw)
{
    int32_t sum = 0;

    for (int i = 0; i < SAMPLE_COUNT; ++i) 
    {    
        sample_buffer[0] = 0;

        sequence.buffer = sample_buffer;
        sequence.buffer_size = sizeof(sample_buffer);
        sequence.resolution = 12;
        sequence.channels = BIT(ADC_SPEC.channel_id);
        
        const int ret = adc_read(ADC_SPEC.dev, &sequence);
        if (ret < 0) 
        {
            LOG_ERR("ADC value not valid");
            return ret;
        }

        sum += sample_buffer[0];
        k_sleep(K_MSEC(2));
    }
    
    raw = static_cast<int16_t>(sum / SAMPLE_COUNT);
    
    return 0;
}

int SoilMoistureSensor::readHumidityPercent(int& percent)
{
    int16_t raw = 0;

    const int ret = readRaw(raw);
    if (ret < 0) 
    {
        return ret;
    }

    const int32_t range = static_cast<int32_t>(wet_raw_) - dry_raw_;
    if (range == 0) 
    {
        return -EINVAL;
    }

    int32_t value = (static_cast<int32_t>(raw) - dry_raw_) * 100 / range;

    if (value < 0) 
    {
        value = 0;
    }

    if (value > 100) 
    {
        value = 100;
    }

    percent = static_cast<int>(value);

    return 0;
}

void SoilMoistureSensor::setCalibration(int16_t dry, int16_t wet)
{
    dry_raw_ = dry;
    wet_raw_ = wet;
}
```

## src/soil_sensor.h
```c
#pragma once

#include "libs_app.h"
#include <zephyr/drivers/adc.h>

#define SAMPLE_COUNT    16

class SoilMoistureSensor {
public:
    SoilMoistureSensor();

    int init();
    int readRaw(int16_t& raw);
    int readHumidityPercent(int& percent);
    void setCalibration(int16_t dry, int16_t wet);

private:
    adc_sequence sequence{};

    int16_t sample_buffer[1]{};
    int16_t dry_raw_ = 4100;
    int16_t wet_raw_ = 1500;
};
```

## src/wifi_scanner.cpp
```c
#include "wifi_scanner.h"

LOG_MODULE_REGISTER(wifi_scanner, LOG_LEVEL_INF);

K_SEM_DEFINE(scan_done, 0, 1);

WifiScanner::WifiScanner()
        : network_count(0)
{
    k_mutex_init(&count_mutex);
}

void WifiScanner::wifi_event_handler(struct net_mgmt_event_callback *cb, uint64_t mgmt_event, struct net_if *iface)
{
    ARG_UNUSED(iface);

    auto *scanner = CONTAINER_OF(cb, WifiScanner, wifi_cb);

    switch (mgmt_event)
    {
    case NET_EVENT_WIFI_SCAN_RESULT:
    {
        const auto *result = static_cast<const wifi_scan_result *>(cb->info);
        if (result == nullptr)
        {
            break;
        }

        k_mutex_lock(&scanner->count_mutex, K_FOREVER);
        scanner->network_count++;
        k_mutex_unlock(&scanner->count_mutex);

        LOG_INF("SSID: %.*s | RSSI: %d dBm | Channel: %u | Security: %d", result->ssid_length, reinterpret_cast<const char *>(result->ssid),
               result->rssi, result->channel, static_cast<int>(result->security));

        break;
    }

    case NET_EVENT_WIFI_SCAN_DONE:
        LOG_INF("Wi-Fi scan completed");
        k_sem_give(&scan_done);
        break;

    default:
        break;
    }
}

int WifiScanner::start()
{
    struct net_if *iface = net_if_get_default();

    if (iface == nullptr)
    {
        LOG_ERR("ERROR: No network interface found");
        return -ENODEV;
    }

    net_mgmt_init_event_callback(&wifi_cb, wifi_event_handler, 
                                NET_EVENT_WIFI_SCAN_RESULT | NET_EVENT_WIFI_SCAN_DONE);
    net_mgmt_add_event_callback(&wifi_cb);

    int ret = net_if_up(iface);
    if (ret != 0 && ret != -EALREADY)
    {
        LOG_ERR("ERROR: net_if_up failed: %d", ret);
        return ret;
    }

    LOG_INF("ESP32-S3 Wi-Fi scanner started");

    while (true)
    {
        k_mutex_lock(&count_mutex, K_FOREVER);
        network_count = 0;
        k_mutex_unlock(&count_mutex);
        LOG_INF("Scanning Wi-Fi networks...");

        ret = net_mgmt(NET_REQUEST_WIFI_SCAN, iface, nullptr, 0);
        if (ret != 0)
        {
            LOG_ERR("ERROR: Wi-Fi scan request failed: %d", ret);
        }
        else
        {
            ret = k_sem_take(&scan_done, K_SECONDS(30));

            if (ret != 0)
            {
                LOG_INF("WARNING: Wi-Fi scan timed out");
            }
            else
            {
                LOG_INF("Found %d networks", getNetworkCount());
            }
        }

        k_sleep(K_SECONDS(10));
    }

    return 0;
}

int WifiScanner::getNetworkCount()
{
    k_mutex_lock(&count_mutex, K_FOREVER);
    int count = network_count;
    k_mutex_unlock(&count_mutex);

    return count;
}
```
